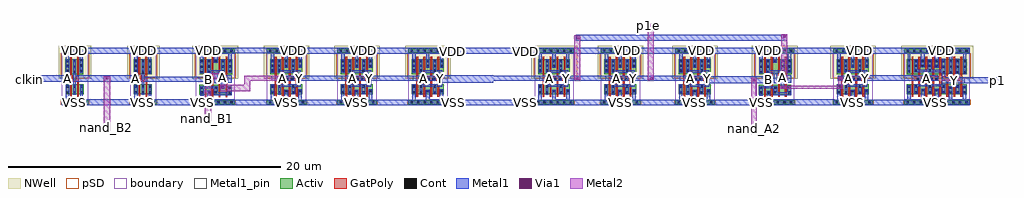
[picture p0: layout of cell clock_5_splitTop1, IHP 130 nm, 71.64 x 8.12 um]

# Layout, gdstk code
import gdstk
lib = gdstk.Library(unit=1e-6, precision=1e-09)
def R(c, l, rs):  # rectangles x0, y0, x1, y1
    for r in rs: c.add(gdstk.rectangle(r[:2], r[2:], *l))
def A(c, l, x, y, w, h, nx, ny, dx, dy):  # array of equal rectangles
    R(c, l, [(x+i*dx, y+j*dy, x+i*dx+w, y+j*dy+h) for i in range(nx) for j in range(ny)])
def P(c, l, *ps):  # polygons
    for p in ps: c.add(gdstk.Polygon(p, *l))
Activ = (1, 0)
GatPoly = (5, 0)
Cont = (6, 0)
Metal1 = (8, 0)
Metal1_pin = (8, 2)
Metal2 = (10, 0)
pSD = (14, 0)
Via1 = (19, 0)
NWell = (31, 0)
boundary = (189, 4)

clock_5_splittop1 = lib.new_cell('clock_5_splitTop1')
R(clock_5_splittop1, Activ, [(-1.075,0.067,0.845,0.367), (3.946,0.067,5.866,0.367), (8.737,0.067,11.617,0.367), (13.975,0.068,16.855,0.368), (19.143,0.068,22.023,0.368), (24.359,0.068,27.239,0.368), (33.629,0.068,36.509,0.368), (38.486,0.068,41.366,0.368), (43.955,0.068,46.835,0.368), (49.8,0.068,52.68,0.368), (55.559,0.068,58.439,0.368), (60.765,0.068,65.565,0.368), (9.022,0.792,11.407,1.512), (50.085,0.793,52.47,1.513), (-0.81,0.807,0.515,1.547), (4.211,0.807,5.536,1.547), (14.22,0.808,16.56,1.548), (19.388,0.808,21.728,1.548), (24.604,0.808,26.944,1.548), (33.874,0.808,36.214,1.548), (38.731,0.808,41.071,1.548), (44.2,0.808,46.54,1.548), (55.804,0.808,58.144,1.548), (60.95,0.808,65.34,1.548), (-0.82,2.277,0.505,3.397), (4.201,2.277,5.526,3.397), (9.037,2.277,11.417,3.397), (14.22,2.278,16.56,3.398), (19.388,2.278,21.728,3.398), (24.604,2.278,26.944,3.398), (33.874,2.278,36.214,3.398), (38.731,2.278,41.071,3.398), (44.2,2.278,46.54,3.398), (50.1,2.278,52.48,3.398), (55.804,2.278,58.144,3.398), (60.95,2.278,65.34,3.398), (-1.075,3.847,0.845,4.147), (3.946,3.847,5.866,4.147), (8.737,3.847,11.617,4.147), (13.975,3.848,16.855,4.148), (19.143,3.848,22.023,4.148), (24.359,3.848,27.239,4.148), (33.629,3.848,36.509,4.148), (38.486,3.848,41.366,4.148), (43.955,3.848,46.835,4.148), (49.8,3.848,52.68,4.148), (55.559,3.848,58.439,4.148), (60.765,3.848,65.565,4.148)])
P(clock_5_splittop1, GatPoly, [(14.56,0.628),(14.56,3.578),(14.69,3.578),(14.69,2.118),(15.07,2.118),(15.07,3.578),(15.2,3.578),(15.2,2.118),(15.58,2.118),(15.58,3.578),(15.71,3.578),(15.71,2.118),(16.09,2.118),(16.09,3.578),(16.22,3.578),(16.22,0.628),(16.09,0.628),(16.09,1.788),(15.71,1.788),(15.71,0.628),(15.58,0.628),(15.58,1.788),(15.2,1.788),(15.2,0.628),(15.07,0.628),(15.07,1.788),(14.69,1.788),(14.69,0.628)],
  [(19.728,0.628),(19.728,3.578),(19.858,3.578),(19.858,2.118),(20.238,2.118),(20.238,3.578),(20.368,3.578),(20.368,2.118),(20.748,2.118),(20.748,3.578),(20.878,3.578),(20.878,2.118),(21.258,2.118),(21.258,3.578),(21.388,3.578),(21.388,0.628),(21.258,0.628),(21.258,1.788),(20.878,1.788),(20.878,0.628),(20.748,0.628),(20.748,1.788),(20.368,1.788),(20.368,0.628),(20.238,0.628),(20.238,1.788),(19.858,1.788),(19.858,0.628)],
  [(24.944,0.628),(24.944,3.578),(25.074,3.578),(25.074,2.118),(25.454,2.118),(25.454,3.578),(25.584,3.578),(25.584,2.118),(25.964,2.118),(25.964,3.578),(26.094,3.578),(26.094,2.118),(26.474,2.118),(26.474,3.578),(26.604,3.578),(26.604,0.628),(26.474,0.628),(26.474,1.788),(26.094,1.788),(26.094,0.628),(25.964,0.628),(25.964,1.788),(25.584,1.788),(25.584,0.628),(25.454,0.628),(25.454,1.788),(25.074,1.788),(25.074,0.628)],
  [(34.214,0.628),(34.214,3.578),(34.344,3.578),(34.344,2.118),(34.724,2.118),(34.724,3.578),(34.854,3.578),(34.854,2.118),(35.234,2.118),(35.234,3.578),(35.364,3.578),(35.364,2.118),(35.744,2.118),(35.744,3.578),(35.874,3.578),(35.874,0.628),(35.744,0.628),(35.744,1.788),(35.364,1.788),(35.364,0.628),(35.234,0.628),(35.234,1.788),(34.854,1.788),(34.854,0.628),(34.724,0.628),(34.724,1.788),(34.344,1.788),(34.344,0.628)],
  [(39.071,0.628),(39.071,3.578),(39.201,3.578),(39.201,2.118),(39.581,2.118),(39.581,3.578),(39.711,3.578),(39.711,2.118),(40.091,2.118),(40.091,3.578),(40.221,3.578),(40.221,2.118),(40.601,2.118),(40.601,3.578),(40.731,3.578),(40.731,0.628),(40.601,0.628),(40.601,1.788),(40.221,1.788),(40.221,0.628),(40.091,0.628),(40.091,1.788),(39.711,1.788),(39.711,0.628),(39.581,0.628),(39.581,1.788),(39.201,1.788),(39.201,0.628)],
  [(44.54,0.628),(44.54,3.578),(44.67,3.578),(44.67,2.118),(45.05,2.118),(45.05,3.578),(45.18,3.578),(45.18,2.118),(45.56,2.118),(45.56,3.578),(45.69,3.578),(45.69,2.118),(46.07,2.118),(46.07,3.578),(46.2,3.578),(46.2,0.628),(46.07,0.628),(46.07,1.788),(45.69,1.788),(45.69,0.628),(45.56,0.628),(45.56,1.788),(45.18,1.788),(45.18,0.628),(45.05,0.628),(45.05,1.788),(44.67,1.788),(44.67,0.628)],
  [(56.144,0.628),(56.144,3.578),(56.274,3.578),(56.274,2.118),(56.654,2.118),(56.654,3.578),(56.784,3.578),(56.784,2.118),(57.164,2.118),(57.164,3.578),(57.294,3.578),(57.294,2.118),(57.674,2.118),(57.674,3.578),(57.804,3.578),(57.804,0.628),(57.674,0.628),(57.674,1.788),(57.294,1.788),(57.294,0.628),(57.164,0.628),(57.164,1.788),(56.784,1.788),(56.784,0.628),(56.654,0.628),(56.654,1.788),(56.274,1.788),(56.274,0.628)],
  [(10.427,0.612),(10.427,3.577),(10.557,3.577),(10.557,2.207),(10.937,2.207),(10.937,3.577),(11.067,3.577),(11.067,0.612),(10.937,0.612),(10.937,1.902),(10.557,1.902),(10.557,0.612)],
  [(51.49,0.613),(51.49,3.578),(51.62,3.578),(51.62,2.208),(52,2.208),(52,3.578),(52.13,3.578),(52.13,0.613),(52,0.613),(52,1.903),(51.62,1.903),(51.62,0.613)],
  [(9.397,0.612),(9.397,3.577),(9.527,3.577),(9.527,2.092),(9.907,2.092),(9.907,3.577),(10.037,3.577),(10.037,0.612),(9.907,0.612),(9.907,1.782),(9.527,1.782),(9.527,0.612)],
  [(50.46,0.613),(50.46,3.578),(50.59,3.578),(50.59,2.093),(50.97,2.093),(50.97,3.578),(51.1,3.578),(51.1,0.613),(50.97,0.613),(50.97,1.783),(50.59,1.783),(50.59,0.613)],
  [(-0.47,0.627),(-0.47,1.737),(-0.77,1.737),(-0.77,2.067),(-0.48,2.067),(-0.48,3.577),(-0.35,3.577),(-0.35,2.202),(-0.29,2.202),(-0.29,1.887),(-0.02,1.887),(-0.02,2.202),(0.035,2.202),(0.035,3.577),(0.165,3.577),(0.165,1.802),(0.17,1.802),(0.17,0.627),(0.04,0.627),(0.04,1.737),(-0.34,1.737),(-0.34,0.627)],
  [(4.551,0.627),(4.551,1.737),(4.251,1.737),(4.251,2.067),(4.541,2.067),(4.541,3.577),(4.671,3.577),(4.671,2.202),(4.731,2.202),(4.731,1.887),(5.001,1.887),(5.001,2.202),(5.056,2.202),(5.056,3.577),(5.186,3.577),(5.186,1.802),(5.191,1.802),(5.191,0.627),(5.061,0.627),(5.061,1.737),(4.681,1.737),(4.681,0.627)],
  [(61.29,0.628),(61.29,3.578),(61.42,3.578),(61.42,2.118),(61.8,2.118),(61.8,3.578),(61.93,3.578),(61.93,2.118),(62.31,2.118),(62.31,3.578),(62.44,3.578),(62.44,2.118),(62.82,2.118),(62.82,3.578),(62.95,3.578),(62.95,2.118),(63.33,2.118),(63.33,3.578),(63.46,3.578),(63.46,2.118),(63.84,2.118),(63.84,3.578),(63.97,3.578),(63.97,2.118),(64.35,2.118),(64.35,3.578),(64.48,3.578),(64.48,2.118),(64.87,2.118),(64.87,3.578),(65,3.578),(65,0.628),(64.87,0.628),(64.87,1.788),(64.48,1.788),(64.48,0.628),(64.35,0.628),(64.35,1.788),(63.97,1.788),(63.97,0.628),(63.84,0.628),(63.84,1.788),(63.46,1.788),(63.46,0.628),(63.33,0.628),(63.33,1.788),(62.95,1.788),(62.95,0.628),(62.82,0.628),(62.82,1.788),(62.44,1.788),(62.44,0.628),(62.31,0.628),(62.31,1.788),(61.93,1.788),(61.93,0.628),(61.8,0.628),(61.8,1.788),(61.42,1.788),(61.42,0.628)])
A(clock_5_splittop1, Cont, -0.915, 0.137, 0.16, 0.16, 4, 2, 0.48, 3.78)
A(clock_5_splittop1, Cont, 4.106, 0.137, 0.16, 0.16, 4, 2, 0.48, 3.78)
A(clock_5_splittop1, Cont, 8.897, 0.137, 0.16, 0.16, 6, 2, 0.48, 3.78)
A(clock_5_splittop1, Cont, 14.135, 0.138, 0.16, 0.16, 6, 2, 0.48, 3.78)
A(clock_5_splittop1, Cont, 19.303, 0.138, 0.16, 0.16, 6, 2, 0.48, 3.78)
A(clock_5_splittop1, Cont, 24.519, 0.138, 0.16, 0.16, 6, 2, 0.48, 3.78)
A(clock_5_splittop1, Cont, 33.789, 0.138, 0.16, 0.16, 6, 2, 0.48, 3.78)
A(clock_5_splittop1, Cont, 38.646, 0.138, 0.16, 0.16, 6, 2, 0.48, 3.78)
A(clock_5_splittop1, Cont, 44.115, 0.138, 0.16, 0.16, 6, 2, 0.48, 3.78)
A(clock_5_splittop1, Cont, 49.96, 0.138, 0.16, 0.16, 6, 2, 0.48, 3.78)
A(clock_5_splittop1, Cont, 55.719, 0.138, 0.16, 0.16, 6, 2, 0.48, 3.78)
A(clock_5_splittop1, Cont, 60.925, 0.138, 0.16, 0.16, 10, 2, 0.48, 3.78)
A(clock_5_splittop1, Cont, 61.53, 1.298, 0.16, 0.16, 4, 1, 1.02, 0)
A(clock_5_splittop1, Cont, 14.71, 1.873, 0.16, 0.16, 4, 1, 0.34, 0)
A(clock_5_splittop1, Cont, 19.878, 1.873, 0.16, 0.16, 4, 1, 0.34, 0)
A(clock_5_splittop1, Cont, 25.094, 1.873, 0.16, 0.16, 4, 1, 0.34, 0)
A(clock_5_splittop1, Cont, 34.364, 1.873, 0.16, 0.16, 4, 1, 0.34, 0)
A(clock_5_splittop1, Cont, 39.221, 1.873, 0.16, 0.16, 4, 1, 0.34, 0)
A(clock_5_splittop1, Cont, 44.69, 1.873, 0.16, 0.16, 4, 1, 0.34, 0)
A(clock_5_splittop1, Cont, 56.294, 1.873, 0.16, 0.16, 4, 1, 0.34, 0)
A(clock_5_splittop1, Cont, 61.655, 1.873, 0.16, 0.16, 5, 1, 0.34, 0)
A(clock_5_splittop1, Cont, 63.57, 2.358, 0.16, 0.16, 3, 2, 0.51, 0.4)
A(clock_5_splittop1, Cont, -0.235, 2.362, 0.16, 0.16, 1, 3, 0, 0.395)
A(clock_5_splittop1, Cont, 4.786, 2.362, 0.16, 0.16, 1, 3, 0, 0.395)
A(clock_5_splittop1, Cont, 5.296, 2.362, 0.16, 0.16, 1, 3, 0, 0.395)
A(clock_5_splittop1, Cont, 9.637, 2.367, 0.16, 0.16, 1, 3, 0, 0.4)
A(clock_5_splittop1, Cont, 50.7, 2.368, 0.16, 0.16, 1, 3, 0, 0.4)
A(clock_5_splittop1, Cont, 0.275, 2.446, 0.16, 0.16, 1, 3, 0, 0.395)
A(clock_5_splittop1, Cont, 14.29, 3.163, 0.16, 0.16, 5, 1, 0.51, 0)
A(clock_5_splittop1, Cont, 19.458, 3.163, 0.16, 0.16, 5, 1, 0.51, 0)
A(clock_5_splittop1, Cont, 24.674, 3.163, 0.16, 0.16, 5, 1, 0.51, 0)
A(clock_5_splittop1, Cont, 33.944, 3.163, 0.16, 0.16, 5, 1, 0.51, 0)
A(clock_5_splittop1, Cont, 38.801, 3.163, 0.16, 0.16, 5, 1, 0.51, 0)
A(clock_5_splittop1, Cont, 44.27, 3.163, 0.16, 0.16, 5, 1, 0.51, 0)
A(clock_5_splittop1, Cont, 55.874, 3.163, 0.16, 0.16, 5, 1, 0.51, 0)
A(clock_5_splittop1, Cont, 61.53, 3.163, 0.16, 0.16, 7, 1, 0.51, 0)
R(clock_5_splittop1, Cont, [(9.637,0.862,9.797,1.022), (50.7,0.863,50.86,1.023), (9.117,0.867,9.277,1.027), (11.177,0.867,11.337,1.027), (50.18,0.868,50.34,1.028), (52.24,0.868,52.4,1.028), (10.147,0.877,10.307,1.037), (51.21,0.878,51.37,1.038), (14.29,0.883,14.45,1.043), (14.8,0.883,14.96,1.043), (15.82,0.883,15.98,1.043), (19.458,0.883,19.618,1.043), (19.968,0.883,20.128,1.043), (20.988,0.883,21.148,1.043), (24.674,0.883,24.834,1.043), (25.184,0.883,25.344,1.043), (26.204,0.883,26.364,1.043), (33.944,0.883,34.104,1.043), (34.454,0.883,34.614,1.043), (35.474,0.883,35.634,1.043), (38.801,0.883,38.961,1.043), (39.311,0.883,39.471,1.043), (40.331,0.883,40.491,1.043), (44.27,0.883,44.43,1.043), (44.78,0.883,44.94,1.043), (45.8,0.883,45.96,1.043), (55.874,0.883,56.034,1.043), (56.384,0.883,56.544,1.043), (57.404,0.883,57.564,1.043), (64.08,0.883,64.24,1.043), (61.02,0.888,61.18,1.048), (61.53,0.888,61.69,1.048), (62.55,0.888,62.71,1.048), (64.59,0.888,64.75,1.048), (65.11,0.888,65.27,1.048), (-0.74,0.892,-0.58,1.052), (-0.23,0.892,-0.07,1.052), (0.285,0.892,0.445,1.052), (4.281,0.892,4.441,1.052), (4.791,0.892,4.951,1.052), (5.306,0.892,5.466,1.052), (63.57,0.893,63.73,1.053), (15.31,0.953,15.47,1.113), (16.33,0.953,16.49,1.113), (20.478,0.953,20.638,1.113), (21.498,0.953,21.658,1.113), (25.694,0.953,25.854,1.113), (26.714,0.953,26.874,1.113), (34.964,0.953,35.124,1.113), (35.984,0.953,36.144,1.113), (39.821,0.953,39.981,1.113), (40.841,0.953,41.001,1.113), (45.29,0.953,45.45,1.113), (46.31,0.953,46.47,1.113), (56.894,0.953,57.054,1.113), (57.914,0.953,58.074,1.113), (62.04,1.033,62.2,1.193), (63.06,1.033,63.22,1.193), (9.112,1.207,9.272,1.367), (11.177,1.207,11.337,1.367), (50.175,1.208,50.335,1.368), (52.24,1.208,52.4,1.368), (10.147,1.222,10.307,1.382), (51.21,1.223,51.37,1.383), (64.08,1.233,64.24,1.393), (65.11,1.243,65.27,1.403), (10.667,1.267,10.827,1.427), (51.73,1.268,51.89,1.428), (61.02,1.298,61.18,1.458), (-0.74,1.307,-0.58,1.467), (-0.23,1.307,-0.07,1.467), (0.285,1.307,0.445,1.467), (4.281,1.307,4.441,1.467), (4.791,1.307,4.951,1.467), (5.306,1.307,5.466,1.467), (14.29,1.308,14.45,1.468), (14.8,1.308,14.96,1.468), (15.82,1.308,15.98,1.468), (19.458,1.308,19.618,1.468), (19.968,1.308,20.128,1.468), (20.988,1.308,21.148,1.468), (24.674,1.308,24.834,1.468), (25.184,1.308,25.344,1.468), (26.204,1.308,26.364,1.468), (33.944,1.308,34.104,1.468), (34.454,1.308,34.614,1.468), (35.474,1.308,35.634,1.468), (38.801,1.308,38.961,1.468), (39.311,1.308,39.471,1.468), (40.331,1.308,40.491,1.468), (44.27,1.308,44.43,1.468), (44.78,1.308,44.94,1.468), (45.8,1.308,45.96,1.468), (55.874,1.308,56.034,1.468), (56.384,1.308,56.544,1.468), (57.404,1.308,57.564,1.468), (10.667,1.325,10.827,1.485), (-0.685,1.822,-0.525,1.982), (4.336,1.822,4.496,1.982), (9.637,1.857,9.797,2.017), (50.7,1.858,50.86,2.018), (10.667,1.977,10.827,2.137), (51.73,1.978,51.89,2.138), (9.107,2.357,9.267,2.517), (50.17,2.358,50.33,2.518), (65.11,2.358,65.27,2.518), (61.02,2.417,61.18,2.577), (10.667,2.427,10.827,2.587), (11.177,2.427,11.337,2.587), (51.73,2.428,51.89,2.588), (52.24,2.428,52.4,2.588), (-0.75,2.452,-0.59,2.612), (4.271,2.452,4.431,2.612), (14.29,2.473,14.45,2.633), (14.8,2.473,14.96,2.633), (15.82,2.473,15.98,2.633), (19.458,2.473,19.618,2.633), (19.968,2.473,20.128,2.633), (20.988,2.473,21.148,2.633), (24.674,2.473,24.834,2.633), (25.184,2.473,25.344,2.633), (26.204,2.473,26.364,2.633), (33.944,2.473,34.104,2.633), (34.454,2.473,34.614,2.633), (35.474,2.473,35.634,2.633), (38.801,2.473,38.961,2.633), (39.311,2.473,39.471,2.633), (40.331,2.473,40.491,2.633), (44.27,2.473,44.43,2.633), (44.78,2.473,44.94,2.633), (45.8,2.473,45.96,2.633), (55.874,2.473,56.034,2.633), (56.384,2.473,56.544,2.633), (57.404,2.473,57.564,2.633), (61.53,2.473,61.69,2.633), (62.55,2.473,62.71,2.633), (9.107,2.757,9.267,2.917), (50.17,2.758,50.33,2.918), (65.11,2.758,65.27,2.918), (10.667,2.767,10.827,2.927), (11.177,2.767,11.337,2.927), (51.73,2.768,51.89,2.928), (52.24,2.768,52.4,2.928), (-0.75,2.807,-0.59,2.967), (4.271,2.807,4.431,2.967), (15.31,2.813,15.47,2.973), (16.33,2.813,16.49,2.973), (20.478,2.813,20.638,2.973), (21.498,2.813,21.658,2.973), (25.694,2.813,25.854,2.973), (26.714,2.813,26.874,2.973), (34.964,2.813,35.124,2.973), (35.984,2.813,36.144,2.973), (39.821,2.813,39.981,2.973), (40.841,2.813,41.001,2.973), (45.29,2.813,45.45,2.973), (46.31,2.813,46.47,2.973), (56.894,2.813,57.054,2.973), (57.914,2.813,58.074,2.973), (62.04,2.813,62.2,2.973), (63.06,2.813,63.22,2.973), (61.02,2.817,61.18,2.977), (14.29,2.823,14.45,2.983), (14.8,2.823,14.96,2.983), (15.82,2.823,15.98,2.983), (19.458,2.823,19.618,2.983), (19.968,2.823,20.128,2.983), (20.988,2.823,21.148,2.983), (24.674,2.823,24.834,2.983), (25.184,2.823,25.344,2.983), (26.204,2.823,26.364,2.983), (33.944,2.823,34.104,2.983), (34.454,2.823,34.614,2.983), (35.474,2.823,35.634,2.983), (38.801,2.823,38.961,2.983), (39.311,2.823,39.471,2.983), (40.331,2.823,40.491,2.983), (44.27,2.823,44.43,2.983), (44.78,2.823,44.94,2.983), (45.8,2.823,45.96,2.983), (55.874,2.823,56.034,2.983), (56.384,2.823,56.544,2.983), (57.404,2.823,57.564,2.983), (61.53,2.823,61.69,2.983), (62.55,2.823,62.71,2.983), (-0.75,3.152,-0.59,3.312), (4.271,3.152,4.431,3.312), (65.11,3.163,65.27,3.323), (9.107,3.167,9.267,3.327), (10.147,3.167,10.307,3.327), (10.667,3.167,10.827,3.327), (11.177,3.167,11.337,3.327), (50.17,3.168,50.33,3.328), (51.21,3.168,51.37,3.328), (51.73,3.168,51.89,3.328), (52.24,3.168,52.4,3.328), (61.02,3.222,61.18,3.382)])
R(clock_5_splittop1, Metal1, [(29.982,0.008,32.118,0.428), (-3.859,1.737,-0.44,2.217), (14.3,1.788,15.975,2.168), (55.884,1.788,57.559,2.168), (29.412,3.778,30.901,4.218), (36.634,4.76,52.172,5.173)])
P(clock_5_splittop1, Metal1, [(14.79,0.788),(14.79,1.558),(16.22,1.558),(16.22,2.388),(14.775,2.388),(14.775,3.398),(14.99,3.398),(14.99,2.558),(15.79,2.558),(15.79,3.393),(16.005,3.393),(16.005,2.558),(16.45,2.558),(16.45,2.168),(21.143,2.168),(21.143,1.788),(16.45,1.788),(16.45,1.363),(16.035,1.363),(16.035,0.813),(15.78,0.813),(15.78,1.363),(14.985,1.363),(14.985,0.788)],
  [(-1.075,-0.003),(-1.075,0.437),(-0.79,0.437),(-0.79,1.517),(-0.53,1.517),(-0.53,0.437),(0.265,0.437),(0.265,1.522),(0.465,1.522),(0.465,0.437),(4.231,0.437),(4.231,1.517),(4.491,1.517),(4.491,0.437),(5.286,0.437),(5.286,1.522),(5.486,1.522),(5.486,0.437),(9.587,0.437),(9.587,1.072),(9.847,1.072),(9.847,0.437),(11.617,0.437),(11.617,0.428),(14.245,0.428),(14.245,1.543),(14.495,1.543),(14.495,0.428),(15.255,0.428),(15.255,1.163),(15.525,1.163),(15.525,0.438),(16.28,0.438),(16.28,1.168),(16.54,1.168),(16.54,0.428),(19.413,0.428),(19.413,1.543),(19.663,1.543),(19.663,0.428),(20.423,0.428),(20.423,1.163),(20.693,1.163),(20.693,0.438),(21.448,0.438),(21.448,1.168),(21.708,1.168),(21.708,0.428),(24.629,0.428),(24.629,1.543),(24.879,1.543),(24.879,0.428),(25.639,0.428),(25.639,1.163),(25.909,1.163),(25.909,0.438),(26.664,0.438),(26.664,1.168),(26.924,1.168),(26.924,0.428),(30.461,0.428),(30.461,0.008),(11.617,0.008),(11.617,-0.003)],
  [(11.107,1.657),(11.107,1.947),(10.552,1.947),(10.552,2.197),(11.382,2.197),(11.382,1.657)],
  [(52.17,1.658),(52.17,1.948),(51.615,1.948),(51.615,2.198),(52.445,2.198),(52.445,1.658)],
  [(19.958,0.788),(19.958,1.558),(21.388,1.558),(21.388,2.388),(19.943,2.388),(19.943,3.398),(20.158,3.398),(20.158,2.558),(20.958,2.558),(20.958,3.393),(21.173,3.393),(21.173,2.558),(21.618,2.558),(21.618,2.168),(26.359,2.168),(26.359,1.788),(21.618,1.788),(21.618,1.363),(21.203,1.363),(21.203,0.813),(20.948,0.813),(20.948,1.363),(20.153,1.363),(20.153,0.788)],
  [(5.266,2.312),(5.266,3.777),(4.481,3.777),(4.481,2.402),(4.221,2.402),(4.221,3.777),(0.46,3.777),(0.46,2.406),(0.245,2.406),(0.245,3.777),(-0.54,3.777),(-0.54,2.402),(-0.8,2.402),(-0.8,3.777),(-1.075,3.777),(-1.075,4.217),(11.486,4.217),(11.486,4.218),(29.578,4.218),(29.578,3.778),(26.909,3.778),(26.909,2.758),(26.679,2.758),(26.679,3.778),(25.899,3.778),(25.899,2.748),(25.659,2.748),(25.659,3.778),(24.889,3.778),(24.889,2.408),(24.644,2.408),(24.644,3.778),(21.693,3.778),(21.693,2.758),(21.463,2.758),(21.463,3.778),(20.683,3.778),(20.683,2.748),(20.443,2.748),(20.443,3.778),(19.673,3.778),(19.673,2.408),(19.428,2.408),(19.428,3.778),(16.525,3.778),(16.525,2.758),(16.295,2.758),(16.295,3.778),(15.515,3.778),(15.515,2.748),(15.275,2.748),(15.275,3.778),(14.505,3.778),(14.505,2.408),(14.26,2.408),(14.26,3.778),(11.617,3.778),(11.617,3.777),(11.387,3.777),(11.387,2.377),(11.127,2.377),(11.127,3.777),(10.347,3.777),(10.347,3.117),(10.087,3.117),(10.087,3.777),(9.317,3.777),(9.317,2.342),(9.057,2.342),(9.057,3.777),(5.481,3.777),(5.481,2.312)],
  [(4.771,0.787),(4.771,3.397),(4.966,3.397),(4.966,2.115),(9.887,2.115),(9.887,1.731),(4.966,1.731),(4.966,0.787)],
  [(64.055,2.273),(64.055,3.778),(63.28,3.778),(63.28,2.778),(63.01,2.778),(63.01,3.778),(62.26,3.778),(62.26,2.783),(61.98,2.783),(61.98,3.778),(61.2,3.778),(61.2,2.403),(61.005,2.403),(61.005,3.778),(58.109,3.778),(58.109,2.758),(57.879,2.758),(57.879,3.778),(57.099,3.778),(57.099,2.748),(56.859,2.748),(56.859,3.778),(56.089,3.778),(56.089,2.408),(55.844,2.408),(55.844,3.778),(52.45,3.778),(52.45,2.378),(52.19,2.378),(52.19,3.778),(51.41,3.778),(51.41,3.118),(51.15,3.118),(51.15,3.778),(50.38,3.778),(50.38,2.343),(50.12,2.343),(50.12,3.778),(46.505,3.778),(46.505,2.758),(46.275,2.758),(46.275,3.778),(45.495,3.778),(45.495,2.748),(45.255,2.748),(45.255,3.778),(44.485,3.778),(44.485,2.408),(44.24,2.408),(44.24,3.778),(41.036,3.778),(41.036,2.758),(40.806,2.758),(40.806,3.778),(40.026,3.778),(40.026,2.748),(39.786,2.748),(39.786,3.778),(39.016,3.778),(39.016,2.408),(38.771,2.408),(38.771,3.778),(36.179,3.778),(36.179,2.758),(35.949,2.758),(35.949,3.778),(35.169,3.778),(35.169,2.748),(34.929,2.748),(34.929,3.778),(34.159,3.778),(34.159,2.408),(33.914,2.408),(33.914,3.778),(30.448,3.778),(30.448,4.218),(65.565,4.218),(65.565,3.778),(65.295,3.778),(65.295,2.283),(65.085,2.283),(65.085,3.778),(64.265,3.778),(64.265,2.273)],
  [(-0.25,0.787),(-0.25,3.397),(-0.055,3.397),(-0.055,2.217),(4.581,2.217),(4.581,1.737),(-0.055,1.737),(-0.055,0.787)],
  [(34.444,0.788),(34.444,1.558),(35.874,1.558),(35.874,2.388),(34.429,2.388),(34.429,3.398),(34.644,3.398),(34.644,2.558),(35.444,2.558),(35.444,3.393),(35.659,3.393),(35.659,2.558),(36.104,2.558),(36.104,2.168),(40.486,2.168),(40.486,1.788),(36.104,1.788),(36.104,1.363),(35.689,1.363),(35.689,0.813),(35.434,0.813),(35.434,1.363),(34.639,1.363),(34.639,0.788)],
  [(39.301,0.788),(39.301,1.558),(40.731,1.558),(40.731,2.388),(39.286,2.388),(39.286,3.398),(39.501,3.398),(39.501,2.558),(40.301,2.558),(40.301,3.393),(40.516,3.393),(40.516,2.558),(40.961,2.558),(40.961,2.168),(45.955,2.168),(45.955,1.788),(40.961,1.788),(40.961,1.363),(40.546,1.363),(40.546,0.813),(40.291,0.813),(40.291,1.363),(39.496,1.363),(39.496,0.788)],
  [(25.174,0.788),(25.174,1.558),(26.604,1.558),(26.604,2.388),(25.159,2.388),(25.159,3.398),(25.374,3.398),(25.374,2.558),(26.174,2.558),(26.174,3.393),(26.389,3.393),(26.389,2.558),(26.834,2.558),(26.834,2.201),(30.584,2.201),(30.584,2.168),(35.629,2.168),(35.629,1.788),(30.584,1.788),(30.584,1.672),(26.834,1.672),(26.834,1.363),(26.419,1.363),(26.419,0.813),(26.164,0.813),(26.164,1.363),(25.369,1.363),(25.369,0.788)],
  [(49.8,-0.002),(49.8,0.008),(31.332,0.008),(31.332,0.428),(33.899,0.428),(33.899,1.543),(34.149,1.543),(34.149,0.428),(34.909,0.428),(34.909,1.163),(35.179,1.163),(35.179,0.438),(35.934,0.438),(35.934,1.168),(36.194,1.168),(36.194,0.428),(38.756,0.428),(38.756,1.543),(39.006,1.543),(39.006,0.428),(39.766,0.428),(39.766,1.163),(40.036,1.163),(40.036,0.438),(40.791,0.438),(40.791,1.168),(41.051,1.168),(41.051,0.428),(44.225,0.428),(44.225,1.543),(44.475,1.543),(44.475,0.428),(45.235,0.428),(45.235,1.163),(45.505,1.163),(45.505,0.438),(46.26,0.438),(46.26,1.168),(46.52,1.168),(46.52,0.428),(49.8,0.428),(49.8,0.438),(50.65,0.438),(50.65,1.073),(50.91,1.073),(50.91,0.438),(55.6,0.438),(55.6,0.428),(55.829,0.428),(55.829,1.543),(56.079,1.543),(56.079,0.428),(56.839,0.428),(56.839,1.163),(57.109,1.163),(57.109,0.438),(57.864,0.438),(57.864,1.168),(58.124,1.168),(58.124,0.428),(60.765,0.428),(60.765,0.438),(60.97,0.438),(60.97,1.488),(61.23,1.488),(61.23,0.438),(61.99,0.438),(61.99,1.218),(62.25,1.218),(62.25,0.438),(63.01,0.438),(63.01,1.208),(63.27,1.208),(63.27,0.438),(64.03,0.438),(64.03,1.413),(64.29,1.413),(64.29,0.438),(65.06,0.438),(65.06,1.443),(65.32,1.443),(65.32,0.438),(65.565,0.438),(65.565,-0.002),(60.765,-0.002),(60.765,0.008),(55.6,0.008),(55.6,-0.002)],
  [(10.617,1.217),(10.617,1.607),(10.117,1.607),(10.117,2.357),(9.577,2.357),(9.577,3.397),(9.837,3.397),(9.837,2.577),(10.627,2.577),(10.627,3.397),(10.887,3.397),(10.887,2.377),(10.357,2.377),(10.357,1.767),(10.877,1.767),(10.877,1.217)],
  [(51.68,1.218),(51.68,1.608),(51.18,1.608),(51.18,2.358),(50.64,2.358),(50.64,3.398),(50.9,3.398),(50.9,2.578),(51.69,2.578),(51.69,3.398),(51.95,3.398),(51.95,2.378),(51.42,2.378),(51.42,1.768),(51.94,1.768),(51.94,1.218)],
  [(61.48,0.838),(61.48,1.563),(63.505,1.563),(63.505,2.438),(61.48,2.438),(61.48,3.378),(61.745,3.378),(61.745,2.603),(62.495,2.603),(62.495,3.373),(62.76,3.373),(62.76,2.598),(63.505,2.598),(63.505,3.418),(63.78,3.418),(63.78,2.058),(64.54,2.058),(64.54,3.408),(64.8,3.408),(64.8,2.058),(67.783,2.058),(67.783,1.638),(64.8,1.638),(64.8,0.858),(64.54,0.858),(64.54,1.638),(63.78,1.638),(63.78,0.883),(63.52,0.883),(63.52,1.398),(62.765,1.398),(62.765,0.853),(62.5,0.853),(62.5,1.398),(61.745,1.398),(61.745,0.838)],
  [(56.374,0.788),(56.374,1.558),(57.804,1.558),(57.804,2.388),(56.359,2.388),(56.359,3.398),(56.574,3.398),(56.574,2.558),(57.374,2.558),(57.374,3.393),(57.589,3.393),(57.589,2.558),(58.034,2.558),(58.034,2.218),(63.26,2.218),(63.26,1.788),(58.034,1.788),(58.034,1.363),(57.619,1.363),(57.619,0.813),(57.364,0.813),(57.364,1.363),(56.569,1.363),(56.569,0.788)],
  [(9.062,0.717),(9.062,1.417),(10.357,1.417),(10.357,0.977),(11.107,0.977),(11.107,1.417),(11.387,1.417),(11.387,0.747),(10.087,0.747),(10.087,1.252),(9.322,1.252),(9.322,0.717)],
  [(50.125,0.718),(50.125,1.418),(51.42,1.418),(51.42,0.978),(52.17,0.978),(52.17,1.418),(52.45,1.418),(52.45,0.748),(51.15,0.748),(51.15,1.253),(50.385,1.253),(50.385,0.718)],
  [(44.77,0.788),(44.77,1.558),(46.2,1.558),(46.2,2.388),(44.755,2.388),(44.755,3.398),(44.97,3.398),(44.97,2.558),(45.77,2.558),(45.77,3.393),(45.985,3.393),(45.985,2.558),(46.43,2.558),(46.43,2.138),(50.95,2.138),(50.95,1.608),(46.43,1.608),(46.43,1.363),(46.015,1.363),(46.015,0.813),(45.76,0.813),(45.76,1.363),(44.965,1.363),(44.965,0.788)])
R(clock_5_splittop1, Metal1_pin, [(-1.075,-0.003,0.845,0.437), (3.946,-0.003,5.866,0.437), (8.737,-0.003,11.617,0.437), (49.8,-0.002,52.68,0.438), (60.765,-0.002,65.565,0.438), (13.975,0.008,16.855,0.428), (19.143,0.008,22.023,0.428), (24.359,0.008,27.239,0.428), (33.629,0.008,36.509,0.428), (38.486,0.008,41.366,0.428), (43.955,0.008,46.835,0.428), (55.559,0.008,58.439,0.428), (-0.25,0.787,-0.055,3.397), (4.771,0.787,4.966,3.397), (16.22,1.363,16.45,2.558), (21.388,1.363,21.618,2.558), (26.604,1.363,26.834,2.558), (35.874,1.363,36.104,2.558), (40.731,1.363,40.961,2.558), (46.2,1.363,46.43,2.558), (57.804,1.363,58.034,2.558), (10.117,1.607,10.357,2.577), (50.62,1.608,50.95,2.138), (51.18,1.608,51.42,2.578), (63.505,1.638,65.205,2.058), (9.557,1.731,9.887,2.115), (-0.895,1.737,-0.44,2.217), (4.126,1.737,4.581,2.217), (14.3,1.788,15.975,2.168), (19.468,1.788,21.143,2.168), (24.684,1.788,26.359,2.168), (33.954,1.788,35.629,2.168), (38.811,1.788,40.486,2.168), (44.28,1.788,45.955,2.168), (55.884,1.788,57.559,2.168), (61.57,1.788,63.26,2.218), (10.552,1.947,11.382,2.197), (51.615,1.948,52.445,2.198), (-1.075,3.777,0.845,4.217), (3.946,3.777,5.866,4.217), (8.737,3.777,11.617,4.217), (13.975,3.778,16.855,4.218), (19.143,3.778,22.023,4.218), (24.359,3.778,27.239,4.218), (33.629,3.778,36.509,4.218), (38.486,3.778,41.366,4.218), (43.955,3.778,46.835,4.218), (49.8,3.778,52.68,4.218), (55.559,3.778,58.439,4.218), (60.765,3.778,65.565,4.218)])
R(clock_5_splittop1, Metal2, [(49.511,-2.127,49.931,2.035), (1.991,-1.855,2.489,2.151), (36.546,1.833,36.966,5.133), (41.939,1.833,42.359,5.995), (51.739,1.92,52.159,5.22)])
P(clock_5_splittop1, Metal2, [(10.545,1.047),(10.545,1.498),(12.318,1.498),(12.318,2.183),(15.101,2.183),(15.101,1.811),(12.749,1.811),(12.749,1.047)],
  [(9.394,-1.143),(9.394,2.366),(10.85,2.366),(10.85,1.906),(9.895,1.906),(9.895,-1.143)],
  [(51.695,1.207),(51.695,1.449),(55.912,1.449),(55.912,2.087),(56.222,2.087),(56.222,1.207)])
R(clock_5_splittop1, pSD, [(-1.145,0.037,0.915,0.397), (3.876,0.037,5.936,0.397), (8.667,0.037,11.687,0.397), (13.905,0.038,16.925,0.398), (19.073,0.038,22.093,0.398), (24.289,0.038,27.309,0.398), (33.559,0.038,36.579,0.398), (38.416,0.038,41.436,0.398), (43.885,0.038,46.905,0.398), (49.73,0.038,52.75,0.398), (55.489,0.038,58.509,0.398), (60.695,0.038,65.635,0.398), (-1.145,1.977,0.915,3.817), (3.876,1.977,5.936,3.817), (8.667,1.977,11.687,3.817), (13.905,1.978,16.925,3.818), (19.073,1.978,22.093,3.818), (24.289,1.978,27.309,3.818), (33.559,1.978,36.579,3.818), (38.416,1.978,41.436,3.818), (43.885,1.978,46.905,3.818), (49.73,1.978,52.75,3.818), (55.489,1.978,58.509,3.818), (60.695,1.978,65.635,3.818)])
R(clock_5_splittop1, Via1, [(49.665,-2.074,49.855,-1.884), (2.142,-1.721,2.332,-1.531), (9.552,-1.026,9.742,-0.836), (51.719,1.251,51.909,1.441), (10.658,1.261,10.848,1.451), (49.636,1.726,49.826,1.916), (55.983,1.865,56.173,2.055), (36.678,1.886,36.868,2.076), (42.093,1.886,42.283,2.076), (2.142,1.91,2.332,2.1), (14.88,1.934,15.07,2.124), (51.871,1.973,52.061,2.163), (10.59,1.977,10.78,2.167), (36.678,4.863,36.868,5.053), (51.871,4.95,52.061,5.14), (42.064,5.686,42.254,5.876)])
R(clock_5_splittop1, NWell, [(-1.315,1.967,1.085,4.387), (3.706,1.967,6.106,4.387), (8.497,1.967,11.857,4.387), (13.735,1.968,17.095,4.388), (18.903,1.968,22.263,4.388), (24.119,1.968,27.479,4.388), (33.389,1.968,36.749,4.388), (38.246,1.968,41.606,4.388), (43.715,1.968,47.075,4.388), (49.56,1.968,52.92,4.388), (55.319,1.968,58.679,4.388), (60.525,1.968,65.805,4.388)])
R(clock_5_splittop1, boundary, [(-1.075,0.217,0.845,3.997), (3.946,0.217,5.866,3.997), (8.737,0.217,11.617,3.997), (13.975,0.218,16.855,3.998), (19.143,0.218,22.023,3.998), (24.359,0.218,27.239,3.998), (33.629,0.218,36.509,3.998), (38.486,0.218,41.366,3.998), (43.955,0.218,46.835,3.998), (49.8,0.218,52.68,3.998), (55.559,0.218,58.439,3.998), (60.765,0.218,65.565,3.998)])
clock_5_splittop1.add(gdstk.Label('A', (-0.66,1.967), layer=8, texttype=25))
clock_5_splittop1.add(gdstk.Label('A', (4.361,1.967), layer=8, texttype=25))
clock_5_splittop1.add(gdstk.Label('A', (15.095,1.978), layer=8, texttype=25))
clock_5_splittop1.add(gdstk.Label('A', (20.263,1.978), layer=8, texttype=25))
clock_5_splittop1.add(gdstk.Label('A', (25.479,1.978), layer=8, texttype=25))
clock_5_splittop1.add(gdstk.Label('A', (34.749,1.978), layer=8, texttype=25))
clock_5_splittop1.add(gdstk.Label('A', (39.606,1.978), layer=8, texttype=25))
clock_5_splittop1.add(gdstk.Label('A', (45.075,1.978), layer=8, texttype=25))
clock_5_splittop1.add(gdstk.Label('A', (56.679,1.978), layer=8, texttype=25))
clock_5_splittop1.add(gdstk.Label('A', (62.41,2.003), layer=8, texttype=25))
clock_5_splittop1.add(gdstk.Label('A', (10.747,2.057), layer=8, texttype=25))
clock_5_splittop1.add(gdstk.Label('A', (51.81,2.058), layer=8, texttype=25))
clock_5_splittop1.add(gdstk.Label('B', (9.717,1.872), layer=8, texttype=25))
clock_5_splittop1.add(gdstk.Label('B', (50.78,1.873), layer=8, texttype=25))
clock_5_splittop1.add(gdstk.Label('Y', (64.415,1.858), layer=8, texttype=25))
clock_5_splittop1.add(gdstk.Label('Y', (16.335,1.973), layer=8, texttype=25))
clock_5_splittop1.add(gdstk.Label('Y', (21.503,1.973), layer=8, texttype=25))
clock_5_splittop1.add(gdstk.Label('Y', (26.719,1.973), layer=8, texttype=25))
clock_5_splittop1.add(gdstk.Label('Y', (35.989,1.973), layer=8, texttype=25))
clock_5_splittop1.add(gdstk.Label('Y', (40.846,1.973), layer=8, texttype=25))
clock_5_splittop1.add(gdstk.Label('Y', (46.315,1.973), layer=8, texttype=25))
clock_5_splittop1.add(gdstk.Label('Y', (57.919,1.973), layer=8, texttype=25))
clock_5_splittop1.add(gdstk.Label('Y', (-0.15,2.072), layer=8, texttype=25))
clock_5_splittop1.add(gdstk.Label('Y', (4.871,2.072), layer=8, texttype=25))
clock_5_splittop1.add(gdstk.Label('Y', (10.217,2.322), layer=8, texttype=25))
clock_5_splittop1.add(gdstk.Label('Y', (51.28,2.323), layer=8, texttype=25))
clock_5_splittop1.add(gdstk.Label('VSS', (63.075,0.198), layer=8, texttype=25))
clock_5_splittop1.add(gdstk.Label('VSS', (-0.185,0.217), layer=8, texttype=25))
clock_5_splittop1.add(gdstk.Label('VSS', (4.836,0.217), layer=8, texttype=25))
clock_5_splittop1.add(gdstk.Label('VSS', (9.247,0.217), layer=8, texttype=25))
clock_5_splittop1.add(gdstk.Label('VSS', (50.31,0.218), layer=8, texttype=25))
clock_5_splittop1.add(gdstk.Label('VSS', (15.38,0.223), layer=8, texttype=25))
clock_5_splittop1.add(gdstk.Label('VSS', (20.548,0.223), layer=8, texttype=25))
clock_5_splittop1.add(gdstk.Label('VSS', (39.891,0.223), layer=8, texttype=25))
clock_5_splittop1.add(gdstk.Label('VSS', (45.36,0.223), layer=8, texttype=25))
clock_5_splittop1.add(gdstk.Label('VSS', (56.964,0.223), layer=8, texttype=25))
clock_5_splittop1.add(gdstk.Label('VDD', (9.707,3.997), layer=8, texttype=25))
clock_5_splittop1.add(gdstk.Label('VDD', (50.77,3.998), layer=8, texttype=25))
clock_5_splittop1.add(gdstk.Label('VDD', (63.475,3.998), layer=8, texttype=25))
clock_5_splittop1.add(gdstk.Label('VDD', (-0.14,4.002), layer=8, texttype=25))
clock_5_splittop1.add(gdstk.Label('VDD', (4.881,4.002), layer=8, texttype=25))
clock_5_splittop1.add(gdstk.Label('VDD', (15.9,4.018), layer=8, texttype=25))
clock_5_splittop1.add(gdstk.Label('VDD', (21.068,4.018), layer=8, texttype=25))
clock_5_splittop1.add(gdstk.Label('VDD', (40.411,4.018), layer=8, texttype=25))
clock_5_splittop1.add(gdstk.Label('VDD', (45.88,4.018), layer=8, texttype=25))
clock_5_splittop1.add(gdstk.Label('VDD', (57.484,4.018), layer=8, texttype=25))
clock_5_splittop1.add(gdstk.Label('nand_B2', (2.19,-1.614), layer=10, texttype=1))
clock_5_splittop1.add(gdstk.Label('nand_A2', (49.791,-1.735), layer=10, texttype=1))
clock_5_splittop1.add(gdstk.Label('nand_B1', (9.603,-0.983), layer=10, texttype=1))
clock_5_splittop1.add(gdstk.Label('p1e', (42.017,5.83), layer=10, texttype=1))
clock_5_splittop1.add(gdstk.Label('clkin', (-3.49,1.916), layer=8, texttype=1))
clock_5_splittop1.add(gdstk.Label('p1', (67.632,1.845), layer=8, texttype=1))
clock_5_splittop1.add(gdstk.Label('VSS', (27.636,0.223), layer=8, texttype=1))
clock_5_splittop1.add(gdstk.Label('VSS', (32.979,0.229), layer=8, texttype=1))
clock_5_splittop1.add(gdstk.Label('VDD', (32.987,3.96), layer=8, texttype=1))
clock_5_splittop1.add(gdstk.Label('VDD', (27.559,3.988), layer=8, texttype=1))

lib.write_gds('clock_5_splitTop1.gds')
